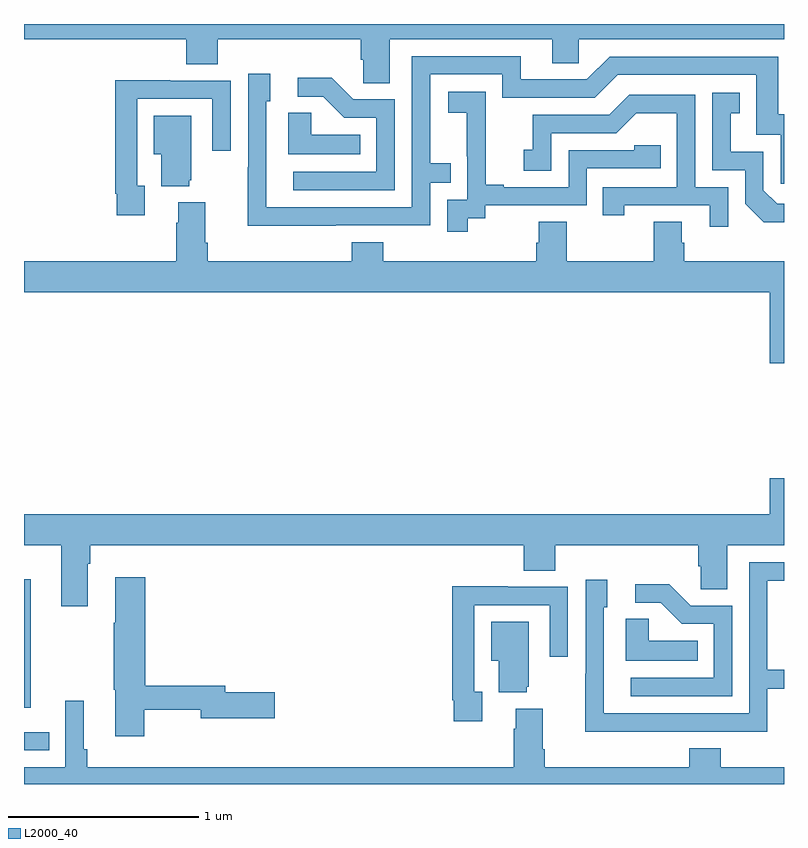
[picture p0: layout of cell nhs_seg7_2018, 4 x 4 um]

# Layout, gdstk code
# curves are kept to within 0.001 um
import gdstk
lib = gdstk.Library(unit=1e-6, precision=1e-09)
def R(c, l, rs):  # rectangles x0, y0, x1, y1
    for r in rs: c.add(gdstk.rectangle(r[:2], r[2:], *l))
def P(c, l, *ps):  # polygons
    for p in ps: c.add(gdstk.Polygon(p, *l))
L2000_40 = (2000, 40)

nhs_seg7_2018 = lib.new_cell('nhs_seg7_2018')
R(nhs_seg7_2018, L2000_40, [(245,1026.177,245.132,1026.273), (245,1026.401,245.035,1027.078)])
P(nhs_seg7_2018, L2000_40, [(246.925,1029.92),(247.781,1029.92),(247.781,1029.793),(247.92,1029.793),(247.92,1029.92),(249,1029.92),(249,1030),(245,1030),(245,1029.92),(245.855,1029.92),(245.855,1029.787),(246.02,1029.787),(246.02,1029.92),(246.773,1029.92),(246.773,1029.811),(246.786,1029.811),(246.786,1029.688),(246.925,1029.688)],
  [(246.641,1028.94),(247.137,1028.94),(247.137,1029.165),(247.247,1029.165),(247.247,1029.266),(247.137,1029.266),(247.137,1029.735),(247.518,1029.735),(247.518,1029.612),(248.004,1029.612),(248.124,1029.732),(248.853,1029.732),(248.853,1029.417),(248.982,1029.417),(248.982,1029.159),(249,1029.159),(249,1029.526),(248.969,1029.526),(248.969,1029.828),(248.082,1029.828),(247.962,1029.708),(247.615,1029.708),(247.615,1029.831),(247.041,1029.831),(247.041,1029.036),(246.276,1029.036),(246.276,1029.594),(246.295,1029.594),(246.295,1029.739),(246.18,1029.739),(246.18,1029.245),(246.178,1029.245),(246.178,1028.939)],
  [(246.951,1029.603),(246.732,1029.603),(246.619,1029.716),(246.441,1029.716),(246.441,1029.618),(246.575,1029.618),(246.686,1029.507),(246.855,1029.507),(246.855,1029.222),(246.417,1029.222),(246.417,1029.126),(246.951,1029.126)],
  [(245.635,1029.15),(245.595,1029.15),(245.595,1029.606),(245.991,1029.606),(245.991,1029.333),(246.087,1029.333),(246.087,1029.702),(245.771,1029.702),(245.771,1029.704),(245.479,1029.704),(245.479,1029.106),(245.487,1029.106),(245.487,1028.994),(245.635,1028.994)],
  [(247.336,1028.977),(247.428,1028.977),(247.428,1029.045),(247.962,1029.045),(247.962,1029.24),(248.351,1029.24),(248.351,1029.363),(248.211,1029.363),(248.211,1029.336),(247.866,1029.336),(247.866,1029.141),(247.525,1029.141),(247.525,1029.154),(247.43,1029.154),(247.43,1029.437),(247.431,1029.437),(247.431,1029.643),(247.233,1029.643),(247.233,1029.533),(247.331,1029.533),(247.331,1029.305),(247.332,1029.305),(247.332,1029.075),(247.227,1029.075),(247.227,1028.907),(247.336,1028.907)],
  [(249,1029.054),(248.964,1029.054),(248.892,1029.126),(248.892,1029.327),(248.719,1029.327),(248.719,1029.531),(248.768,1029.531),(248.768,1029.637),(248.622,1029.637),(248.622,1029.231),(248.796,1029.231),(248.796,1029.054),(248.894,1028.957),(249,1028.957)],
  [(248.706,1029.141),(248.532,1029.141),(248.532,1029.627),(248.186,1029.627),(248.081,1029.522),(247.678,1029.522),(247.678,1029.337),(247.629,1029.337),(247.629,1029.228),(247.776,1029.228),(247.776,1029.426),(248.118,1029.426),(248.222,1029.53),(248.436,1029.53),(248.436,1029.141),(248.047,1029.141),(248.047,1028.994),(248.158,1028.994),(248.158,1029.045),(248.609,1029.045),(248.609,1028.934),(248.706,1028.934)],
  [(246.77,1029.418),(246.513,1029.418),(246.513,1029.533),(246.392,1029.533),(246.392,1029.314),(246.77,1029.314)],
  [(245.87,1029.177),(245.881,1029.177),(245.881,1029.517),(245.684,1029.517),(245.684,1029.314),(245.723,1029.314),(245.723,1029.146),(245.87,1029.146)],
  [(246.725,1028.851),(246.725,1028.752),(245.966,1028.752),(245.966,1028.848),(245.953,1028.848),(245.953,1029.061),(245.813,1029.061),(245.813,1028.954),(245.801,1028.954),(245.801,1028.752),(245,1028.752),(245,1028.588),(248.924,1028.588),(248.924,1028.214),(249,1028.214),(249,1028.752),(248.474,1028.752),(248.474,1028.85),(248.461,1028.85),(248.461,1028.96),(248.314,1028.96),(248.314,1028.752),(247.857,1028.752),(247.857,1028.96),(247.709,1028.96),(247.709,1028.85),(247.697,1028.85),(247.697,1028.752),(246.89,1028.752),(246.89,1028.851)],
  [(245,1027.256),(245.195,1027.256),(245.195,1026.936),(245.335,1026.936),(245.335,1027.16),(245.348,1027.16),(245.348,1027.256),(247.631,1027.256),(247.631,1027.123),(247.796,1027.123),(247.796,1027.256),(248.549,1027.256),(248.549,1027.147),(248.562,1027.147),(248.562,1027.024),(248.701,1027.024),(248.701,1027.256),(249,1027.256),(249,1027.609),(248.924,1027.609),(248.924,1027.42),(245,1027.42)],
  [(248.417,1026.276),(248.913,1026.276),(248.913,1026.501),(249,1026.501),(249,1026.602),(248.913,1026.602),(248.913,1027.071),(249,1027.071),(249,1027.167),(248.817,1027.167),(248.817,1026.372),(248.052,1026.372),(248.052,1026.93),(248.071,1026.93),(248.071,1027.075),(247.956,1027.075),(247.956,1026.581),(247.954,1026.581),(247.954,1026.275),(248.417,1026.275)],
  [(245.634,1026.39),(245.93,1026.39),(245.93,1026.347),(246.319,1026.347),(246.319,1026.482),(246.058,1026.482),(246.058,1026.518),(245.639,1026.518),(245.639,1027.087),(245.48,1027.087),(245.48,1026.848),(245.473,1026.848),(245.473,1026.495),(245.48,1026.495),(245.48,1026.252),(245.634,1026.252)],
  [(248.727,1026.939),(248.508,1026.939),(248.395,1027.052),(248.217,1027.052),(248.217,1026.954),(248.351,1026.954),(248.462,1026.843),(248.631,1026.843),(248.631,1026.558),(248.193,1026.558),(248.193,1026.462),(248.727,1026.462)],
  [(247.411,1026.486),(247.371,1026.486),(247.371,1026.942),(247.767,1026.942),(247.767,1026.669),(247.863,1026.669),(247.863,1027.038),(247.547,1027.038),(247.547,1027.04),(247.255,1027.04),(247.255,1026.442),(247.263,1026.442),(247.263,1026.33),(247.411,1026.33)],
  [(248.546,1026.754),(248.289,1026.754),(248.289,1026.869),(248.168,1026.869),(248.168,1026.65),(248.546,1026.65)],
  [(247.646,1026.513),(247.657,1026.513),(247.657,1026.853),(247.46,1026.853),(247.46,1026.65),(247.499,1026.65),(247.499,1026.482),(247.646,1026.482)],
  [(249,1026.088),(248.666,1026.088),(248.666,1026.187),(248.501,1026.187),(248.501,1026.088),(247.742,1026.088),(247.742,1026.184),(247.729,1026.184),(247.729,1026.397),(247.589,1026.397),(247.589,1026.29),(247.577,1026.29),(247.577,1026.088),(245.333,1026.088),(245.333,1026.184),(245.314,1026.184),(245.314,1026.439),(245.217,1026.439),(245.217,1026.088),(245,1026.088),(245,1026),(249,1026)])

lib.write_gds('nhs_seg7_2018.gds')
